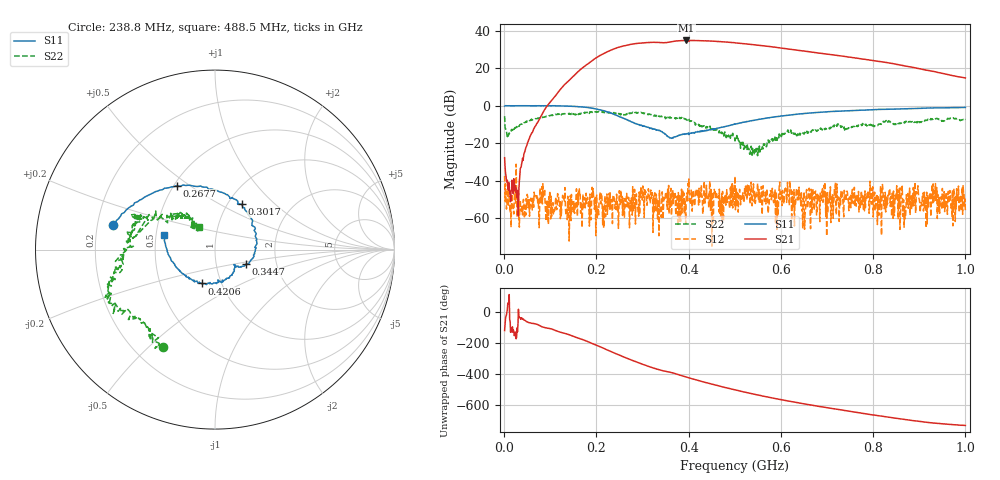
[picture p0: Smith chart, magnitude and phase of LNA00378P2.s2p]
! Created with skrf 1.9.0 (http://scikit-rf.org).
# Hz S RI R 50.0
!freq ReS11 ImS11 ReS21 ImS21 ReS12 ImS12 ReS22 ImS22
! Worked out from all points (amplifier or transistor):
!   1001 points, 1 MHz to 1 GHz, reference 50 ohm
!   highest |S21| = 34.8 dB at 394.6 MHz (marker M1)
!   |S21| within 3 dB of that: 257.5 MHz to 566.3 MHz (308.8 MHz wide, 75 % of centre) (the widest 1 of 2)
!   unconditionally stable (mu >= 1): 3.564 MHz to 67.67 MHz; 301 MHz to 500.5 MHz; 500.5 MHz to end of sweep (the widest 3 of 40)
!   at 166.8 MHz: K = 1.78, MAG = 31.4 dB, |S12| = -53.5 dB
!   at 500.5 MHz: K = 0.99, MSG = 35.6 dB, |S12| = -37.7 dB
!   at 1 GHz: K = 9.15, MAG = 23.0 dB, |S12| = -56.4 dB
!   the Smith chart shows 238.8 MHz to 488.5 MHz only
!   S11 on the Smith chart (normalised r, x): 238.8 MHz: 0.27, +0.11; 267.7 MHz: 0.52, +0.45; 301.7 MHz: 1.16, +0.64; 344.7 MHz: 1.39, -0.23; 420.6 MHz: 0.81, -0.32; 488.5 MHz: 0.55, +0.10
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1000000  0.9766 -0.00663  -0.0216 -0.0349  -0.0118 0.00625  0.4382 0.2878
1.08892e8  0.5046 -0.8564  -0.8172 -1.489  0.00159 0.00017  0.418 -0.3802
1.67833e8  -0.2661 -0.891  -9.763 -0.4253  -0.00256 0.000722  0.032 -0.6237
2.07793e8  -0.6782 -0.3709  -15.25 15.61  0.00423 -0.00248  -0.1989 -0.6497
2.38762e8  -0.568 0.137  -2.12 33.02  0.00299 -0.000916  -0.2888 -0.5416
2.67733e8  -0.2134 0.3565  21.87 35.26  -8.2e-05 0.00182  -0.4686 -0.3608
3.01699e8  0.1485 0.2525  44.58 16.15  -0.00102 0.00501  -0.5905 -0.1855
3.34666e8  0.2208 -0.0233  47.4 -10.68  -0.000761 0.00117  -0.5202 -0.0543
3.44656e8  0.1708 -0.0816  44.54 -16.81  0.000527 0.000796  -0.5014 -0.0114
3.7063e8  0.111 -0.0977  41.46 -32.66  -0.000457 0.00453  -0.4562 0.1424
3.94606e8  0.0518 -0.1714  27.1 -47.78  0.00269 0.00181  -0.3986 0.184
4.2058e8  -0.0741 -0.1887  6.737 -53.98  0.00136 0.00419  -0.2406 0.1796
4.5055e8  -0.205 -0.1096  -14.8 -50.89  -0.000174 4.62e-05  -0.1523 0.1756
4.88512e8  -0.2834 0.0826  -34.31 -34.9  0.00175 -0.000531  -0.0881 0.1256
5.005e8  -0.2892 0.1591  -38.17 -28.72  0.0125 0.00392  -0.0755 0.0878
5.39461e8  -0.1961 0.3542  -41.77 -7.968  0.00436 -0.00227  -0.0521 -0.000272
5.84416e8  0.00499 0.4993  -35.18 10.61  0.00222 -0.00135  -0.1035 -0.0545
6.25375e8  0.2023 0.5425  -24.14 19.88  0.000934 -0.00159  -0.1576 -0.1043
6.67333e8  0.4079 0.4967  -12.72 23.41  -0.0014 0.00024  -0.2113 -0.0476
7.55245e8  0.6906 0.2729  4.333 18.67  -0.0026 -0.00528  -0.2702 -0.00298
8.34166e8  0.8046 0.0099  10.36 9.15  -0.00478 0.000903  -0.3862 -0.0333
1e9  0.7261 -0.5301  5.376 -1.085  0.000248 0.00149  -0.339 0.2635
